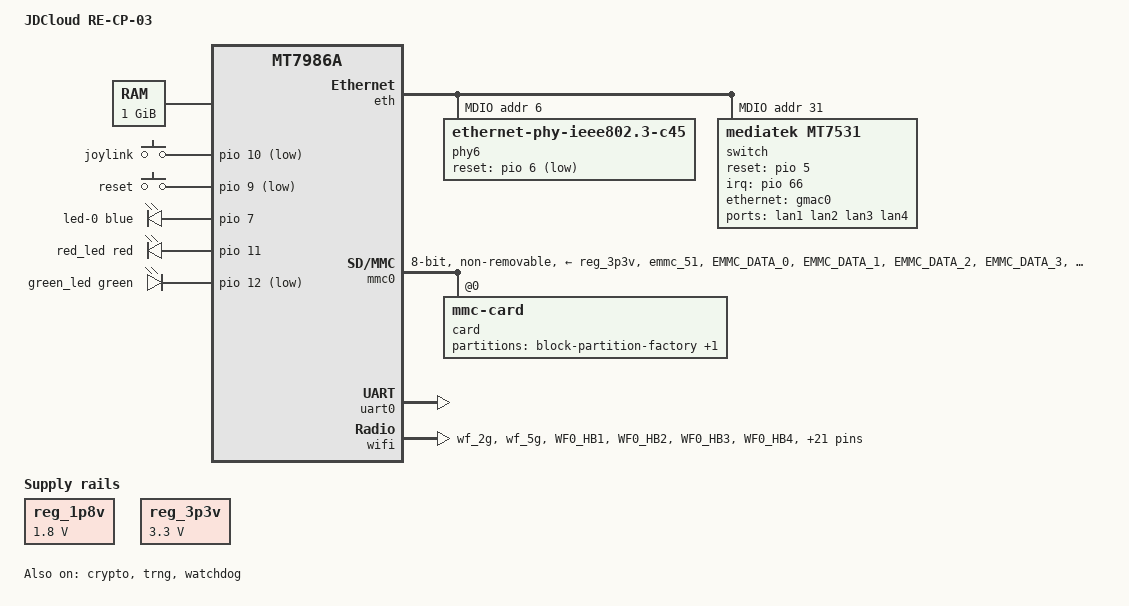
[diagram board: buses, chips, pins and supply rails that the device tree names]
// SPDX-License-Identifier: GPL-2.0-or-later OR MIT
/*
 * Copyright (C) 2023 Tianling Shen <cnsztl@immortalwrt.org>
 */

/dts-v1/;
#include <dt-bindings/gpio/gpio.h>
#include <dt-bindings/input/input.h>
#include <dt-bindings/leds/common.h>

#include "mt7986a.dtsi"

/ {
	model = "JDCloud RE-CP-03";
	compatible = "jdcloud,re-cp-03", "mediatek,mt7986a";

	aliases {
		led-boot = &red_led;
		led-failsafe = &red_led;
		led-running = &green_led;
		led-upgrade = &green_led;
		serial0 = &uart0;
	};

	chosen {
		bootargs-override = "root=/dev/fit0 rootwait";
		stdout-path = "serial0:115200n8";
		rootdisk = <&emmc_rootdisk>;
	};

	memory@40000000 {
		reg = <0 0x40000000 0 0x40000000>;
	};

	gpio-keys {
		compatible = "gpio-keys";

		button-joylink {
			label = "joylink";
			linux,code = <BTN_0>;
			gpios = <&pio 10 GPIO_ACTIVE_LOW>;
		};

		button-reset {
			label = "reset";
			linux,code = <KEY_RESTART>;
			gpios = <&pio 9 GPIO_ACTIVE_LOW>;
		};
	};

	gpio-leds {
		compatible = "gpio-leds";

		led-0 {
			color = <LED_COLOR_ID_BLUE>;
			function = LED_FUNCTION_STATUS;
			gpios = <&pio 7 GPIO_ACTIVE_HIGH>;
		};

		red_led: led-1 {
			color = <LED_COLOR_ID_RED>;
			function = LED_FUNCTION_STATUS;
			gpios = <&pio 11 GPIO_ACTIVE_HIGH>;
		};

		green_led: led-2 {
			color = <LED_COLOR_ID_GREEN>;
			function = LED_FUNCTION_STATUS;
			gpios = <&pio 12 GPIO_ACTIVE_LOW>;
		};
	};

	reg_1p8v: regulator-1p8v {
		compatible = "regulator-fixed";
		regulator-name = "fixed-1.8V";
		regulator-min-microvolt = <1800000>;
		regulator-max-microvolt = <1800000>;
		regulator-boot-on;
		regulator-always-on;
	};

	reg_3p3v: regulator-3p3v {
		compatible = "regulator-fixed";
		regulator-name = "fixed-3.3V";
		regulator-min-microvolt = <3300000>;
		regulator-max-microvolt = <3300000>;
		regulator-boot-on;
		regulator-always-on;
	};
};

&crypto {
	status = "okay";
};

&eth {
	status = "okay";

	gmac0: mac@0 {
		compatible = "mediatek,eth-mac";
		reg = <0>;
		phy-mode = "2500base-x";

		nvmem-cells = <&macaddr_factory_2a 0>;
		nvmem-cell-names = "mac-address";

		fixed-link {
			speed = <2500>;
			full-duplex;
			pause;
		};
	};

	gmac1: mac@1 {
		compatible = "mediatek,eth-mac";
		reg = <1>;
		phy-mode = "2500base-x";
		phy-handle = <&phy6>;

		nvmem-cells = <&macaddr_factory_24 0>;
		nvmem-cell-names = "mac-address";
	};

	mdio: mdio-bus {
		#address-cells = <1>;
		#size-cells = <0>;
	};
};

&mdio {
	phy6: phy@6 {
		compatible = "ethernet-phy-ieee802.3-c45";
		reg = <6>;

		reset-gpios = <&pio 6 GPIO_ACTIVE_LOW>;
		reset-assert-us = <15000>;
		reset-deassert-us = <68000>;
		realtek,aldps-enable;
	};

	switch: switch@1f {
		compatible = "mediatek,mt7531";
		reg = <31>;
		reset-gpios = <&pio 5 GPIO_ACTIVE_HIGH>;
		interrupt-controller;
		#interrupt-cells = <1>;
		interrupt-parent = <&pio>;
		interrupts = <66 IRQ_TYPE_LEVEL_HIGH>;
	};
};

&mmc0 {
	bus-width = <8>;
	cap-mmc-highspeed;
	hs400-ds-delay = <0x14014>;
	max-frequency = <200000000>;
	mmc-hs200-1_8v;
	mmc-hs400-1_8v;
	no-sd;
	no-sdio;
	non-removable;
	pinctrl-names = "default", "state_uhs";
	pinctrl-0 = <&mmc0_pins_default>;
	pinctrl-1 = <&mmc0_pins_uhs>;
	vmmc-supply = <&reg_3p3v>;
	vqmmc-supply = <&reg_1p8v>;
	status = "okay";

	card@0 {
		compatible = "mmc-card";
		reg = <0>;

		block {
			compatible = "block-device";

			partitions {
				block-partition-factory {
					partname = "factory";

					nvmem-layout {
						compatible = "fixed-layout";
						#address-cells = <1>;
						#size-cells = <1>;

						eeprom_factory_0: eeprom@0 {
							reg = <0x0 0x1000>;
						};

						macaddr_factory_24: macaddr@24 {
							compatible = "mac-base";
							reg = <0x24 0x6>;
							#nvmem-cell-cells = <1>;
						};

						macaddr_factory_2a: macaddr@2a {
							compatible = "mac-base";
							reg = <0x2a 0x6>;
							#nvmem-cell-cells = <1>;
						};
					};
				};

				emmc_rootdisk: block-partition-production {
					partname = "production";
				};
			};
		};
	};
};

&pio {
	mmc0_pins_default: mmc0-pins-default {
		mux {
			function = "emmc";
			groups = "emmc_51";
		};
		conf-cmd-dat {
			pins = "EMMC_DATA_0", "EMMC_DATA_1", "EMMC_DATA_2",
			       "EMMC_DATA_3", "EMMC_DATA_4", "EMMC_DATA_5",
			       "EMMC_DATA_6", "EMMC_DATA_7", "EMMC_CMD";
			input-enable;
			drive-strength = <4>;
			mediatek,pull-up-adv = <1>;
		};
		conf-clk {
			pins = "EMMC_CK";
			drive-strength = <6>;
			mediatek,pull-down-adv = <2>;
		};
		conf-ds {
			pins = "EMMC_DSL";
			mediatek,pull-down-adv = <2>;
		};
		conf-rst {
			pins = "EMMC_RSTB";
			drive-strength = <4>;
			mediatek,pull-up-adv = <1>;
		};
	};

	mmc0_pins_uhs: mmc0-uhs-pins {
		mux {
			function = "emmc";
			groups = "emmc_51";
		};
		conf-cmd-dat {
			pins = "EMMC_DATA_0", "EMMC_DATA_1", "EMMC_DATA_2",
			       "EMMC_DATA_3", "EMMC_DATA_4", "EMMC_DATA_5",
			       "EMMC_DATA_6", "EMMC_DATA_7", "EMMC_CMD";
			input-enable;
			drive-strength = <4>;
			mediatek,pull-up-adv = <1>;
		};
		conf-clk {
			pins = "EMMC_CK";
			drive-strength = <6>;
			mediatek,pull-down-adv = <2>;
		};
		conf-ds {
			pins = "EMMC_DSL";
			mediatek,pull-down-adv = <2>;
		};
		conf-rst {
			pins = "EMMC_RSTB";
			drive-strength = <4>;
			mediatek,pull-up-adv = <1>;
		};
	};

	wf_2g_5g_pins: wf-2g-5g-pins {
		mux {
			function = "wifi";
			groups = "wf_2g", "wf_5g";
		};
		conf {
			pins = "WF0_HB1", "WF0_HB2", "WF0_HB3", "WF0_HB4",
			       "WF0_HB0", "WF0_HB0_B", "WF0_HB5", "WF0_HB6",
			       "WF0_HB7", "WF0_HB8", "WF0_HB9", "WF0_HB10",
			       "WF0_TOP_CLK", "WF0_TOP_DATA", "WF1_HB1",
			       "WF1_HB2", "WF1_HB3", "WF1_HB4", "WF1_HB0",
			       "WF1_HB5", "WF1_HB6", "WF1_HB7", "WF1_HB8",
			       "WF1_TOP_CLK", "WF1_TOP_DATA";
			drive-strength = <4>;
		};
	};
};

&switch {
	ports {
		#address-cells = <1>;
		#size-cells = <0>;

		port@1 {
			reg = <1>;
			label = "lan1";
		};

		port@2 {
			reg = <2>;
			label = "lan2";
		};

		port@3 {
			reg = <3>;
			label = "lan3";
		};

		port@4 {
			reg = <4>;
			label = "lan4";
		};

		port@6 {
			reg = <6>;
			ethernet = <&gmac0>;
			phy-mode = "2500base-x";

			fixed-link {
				speed = <2500>;
				full-duplex;
				pause;
			};
		};
	};
};

&trng {
	status = "okay";
};

&uart0 {
	status = "okay";
};

&watchdog {
	status = "okay";
};

&wifi {
	nvmem-cells = <&eeprom_factory_0>;
	nvmem-cell-names = "eeprom";
	pinctrl-names = "default";
	pinctrl-0 = <&wf_2g_5g_pins>;
	status = "okay";
};
